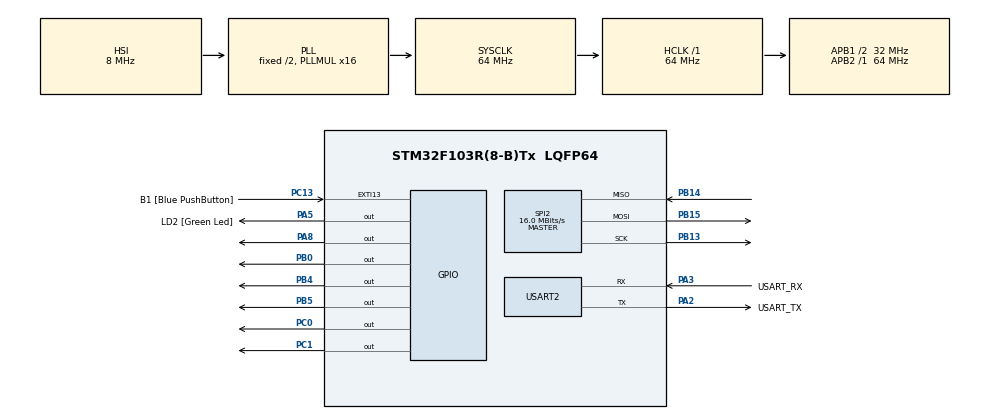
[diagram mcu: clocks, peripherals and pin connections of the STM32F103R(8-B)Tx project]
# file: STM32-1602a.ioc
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Mcu.Family=STM32F1
Mcu.Name=STM32F103R(8-B)Tx
Mcu.Package=LQFP64
NVIC.EXTI15_10_IRQn=true\:0\:0\:false\:false\:true\:true\:true
NVIC.PriorityGroup=NVIC_PRIORITYGROUP_4
PA13.GPIO_Label=TMS
PA13.Mode=Serial_Wire
PA13.Signal=SYS_JTMS-SWDIO
PA14.GPIO_Label=TCK
PA14.Mode=Serial_Wire
PA14.Signal=SYS_JTCK-SWCLK
PA2.GPIO_Label=USART_TX
PA2.GPIO_Mode=GPIO_MODE_AF_PP
PA2.GPIO_PuPd=GPIO_NOPULL
PA2.GPIO_Speed=GPIO_SPEED_FREQ_LOW
PA2.Mode=Asynchronous
PA2.Signal=USART2_TX
PA3.GPIO_Label=USART_RX
PA3.GPIO_Mode=GPIO_MODE_AF_PP
PA3.GPIO_PuPd=GPIO_NOPULL
PA3.GPIO_Speed=GPIO_SPEED_FREQ_LOW
PA3.Mode=Asynchronous
PA3.Signal=USART2_RX
PA5.GPIO_Label=LD2 [Green Led]
PA5.GPIO_ModeDefaultOutputPP=GPIO_MODE_OUTPUT_PP
PA5.GPIO_PuPd=GPIO_NOPULL
PA5.GPIO_Speed=GPIO_SPEED_FREQ_LOW
PA5.Signal=GPIO_Output
PA8.Signal=GPIO_Output
PB0.Signal=GPIO_Output
PB13.Mode=Full_Duplex_Master
PB13.Signal=SPI2_SCK
PB14.Mode=Full_Duplex_Master
PB14.Signal=SPI2_MISO
PB15.Mode=Full_Duplex_Master
PB15.Signal=SPI2_MOSI
PB3.GPIO_Label=SWO
PB3.Signal=SYS_JTDO-TRACESWO
PB4.Signal=GPIO_Output
PB5.Signal=GPIO_Output
PC0.Signal=GPIO_Output
PC1.Signal=GPIO_Output
PC13-TAMPER-RTC.GPIO_Label=B1 [Blue PushButton]
PC13-TAMPER-RTC.GPIO_PuPd=GPIO_NOPULL
PC13-TAMPER-RTC.Signal=GPXTI13
PC14-OSC32_IN.Mode=LSE-External-Oscillator
PC14-OSC32_IN.Signal=RCC_OSC32_IN
PC15-OSC32_OUT.Mode=LSE-External-Oscillator
PC15-OSC32_OUT.Signal=RCC_OSC32_OUT
PD0-OSC_IN.Mode=HSE-External-Clock-Source
PD0-OSC_IN.Signal=RCC_OSC_IN
PD1-OSC_OUT.Mode=HSE-External-Clock-Source
PD1-OSC_OUT.Signal=RCC_OSC_OUT
ProjectManager.HeapSize=0x200
ProjectManager.StackSize=0x400
ProjectManager.TargetToolchain=STM32CubeIDE
RCC.AHBFreq_Value=64000000
RCC.APB1CLKDivider=RCC_HCLK_DIV2
RCC.APB1Freq_Value=32000000
RCC.APB1TimFreq_Value=64000000
RCC.APB2Freq_Value=64000000
RCC.APB2TimFreq_Value=64000000
RCC.HCLKFreq_Value=64000000
RCC.PLLMUL=RCC_PLL_MUL16
RCC.RTCClockSelection=RCC_RTCCLKSOURCE_LSE
RCC.SYSCLKFreq_VALUE=64000000
RCC.SYSCLKSource=RCC_SYSCLKSOURCE_PLLCLK
RCC.USBFreq_Value=64000000
SPI2.CalculateBaudRate=16.0 MBits/s
SPI2.Direction=SPI_DIRECTION_2LINES
SPI2.Mode=SPI_MODE_MASTER
SPI2.VirtualType=VM_MASTER
TIM2.Period=500
TIM2.Prescaler=63999
USART2.VirtualMode=VM_ASYNC
VP_TIM2_VS_ClockSourceINT.Mode=Internal
board=NUCLEO-F103RB

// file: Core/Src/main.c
/* USER CODE BEGIN Header */
/**
  ******************************************************************************
  * @file           : main.c
  * @brief          : Main program body
  ******************************************************************************
  * @attention
  *
  * <h2><center>&copy; Copyright (c) 2021 STMicroelectronics.
  * All rights reserved.</center></h2>
  *
  * This software component is licensed by ST under BSD 3-Clause license,
  * the "License"; You may not use this file except in compliance with the
  * License. You may obtain a copy of the License at:
  *                        opensource.org/licenses/BSD-3-Clause
  *
  ******************************************************************************
  */
/* USER CODE END Header */
#include "main.h"
#include "application.h"
#include "logger.h"
#include "transmitter.h"
#include "receiver.h"
#include "lcd_driver.h"
#include "FreeRTOS.h"
#include "task.h"

SPI_HandleTypeDef hspi2;

TIM_HandleTypeDef htim2;

UART_HandleTypeDef huart2;

void SystemClock_Config(void);
static void MX_GPIO_Init(void);
static void MX_USART2_UART_Init(void);
static void MX_TIM2_Init(void);
static void MX_SPI2_Init(void);

int main(void)
{
  /* USER CODE BEGIN 1 */
  TaskHandle_t handle_lcd_driver = NULL;
  TaskHandle_t handle_application = NULL;
  TaskHandle_t handle_logger = NULL;
  TaskHandle_t handle_transmitter = NULL;
  TaskHandle_t handle_receiver = NULL;
  BaseType_t ret;

  ret = xTaskCreate(lcd_driver_task,
                    "lcd_driver",
                    STACK_SIZE_DRIVER,
                    NULL,
                    PRIORITY_DRIVER,
                    &handle_lcd_driver );

  if (ret != pdTRUE)
  {
    while(1);
  }

  ret = xTaskCreate(application_task,
                    "application",
                    STACK_SIZE_APPLICATION,
                    NULL,
                    PRIORITY_APPLICATION,
                    &handle_application );

  if (ret != pdTRUE)
  {
    while(1);
  }

  ret = xTaskCreate(logger_task,
                    "logger",
                    STACK_SIZE_APPLICATION,
                    NULL,
                    PRIORITY_APPLICATION,
                    &handle_logger );

  if (ret != pdTRUE)
  {
    while(1);
  }

  ret = xTaskCreate(transmitter_task,
                    "transmitter",
                    STACK_SIZE_APPLICATION,
                    NULL,
                    PRIORITY_APPLICATION,
                    &handle_transmitter );

  if (ret != pdTRUE)
  {
    while(1);
  }

  ret = xTaskCreate(receiver_task,
                    "receiver",
                    STACK_SIZE_APPLICATION,
                    NULL,
                    PRIORITY_APPLICATION,
                    &handle_receiver );

  if (ret != pdTRUE)
  {
    while(1);
  }

  /* USER CODE END 1 */

  /* MCU Configuration--------------------------------------------------------*/

  /* Reset of all peripherals, Initializes the Flash interface and the Systick. */
  HAL_Init();

  /* Configure the system clock */
  SystemClock_Config();

  /* Initialize all configured peripherals */
  MX_GPIO_Init();
  MX_USART2_UART_Init();
  MX_TIM2_Init();
  MX_SPI2_Init();
  /* USER CODE BEGIN 2 */

  vTaskStartScheduler();
  /* USER CODE END 2 */

  /* Infinite loop */
  while (1)
  {

  }
}

void SystemClock_Config(void)
{
  RCC_OscInitTypeDef RCC_OscInitStruct = {0};
  RCC_ClkInitTypeDef RCC_ClkInitStruct = {0};

  /** Initializes the RCC Oscillators according to the specified parameters
  * in the RCC_OscInitTypeDef structure.
  */
  RCC_OscInitStruct.OscillatorType = RCC_OSCILLATORTYPE_HSI;
  RCC_OscInitStruct.HSIState = RCC_HSI_ON;
  RCC_OscInitStruct.HSICalibrationValue = RCC_HSICALIBRATION_DEFAULT;
  RCC_OscInitStruct.PLL.PLLState = RCC_PLL_ON;
  RCC_OscInitStruct.PLL.PLLSource = RCC_PLLSOURCE_HSI_DIV2;
  RCC_OscInitStruct.PLL.PLLMUL = RCC_PLL_MUL16;
  if (HAL_RCC_OscConfig(&RCC_OscInitStruct) != HAL_OK)
  {
    Error_Handler();
  }
  /** Initializes the CPU, AHB and APB buses clocks
  */
  RCC_ClkInitStruct.ClockType = RCC_CLOCKTYPE_HCLK|RCC_CLOCKTYPE_SYSCLK
                              |RCC_CLOCKTYPE_PCLK1|RCC_CLOCKTYPE_PCLK2;
  RCC_ClkInitStruct.SYSCLKSource = RCC_SYSCLKSOURCE_PLLCLK;
  RCC_ClkInitStruct.AHBCLKDivider = RCC_SYSCLK_DIV1;
  RCC_ClkInitStruct.APB1CLKDivider = RCC_HCLK_DIV2;
  RCC_ClkInitStruct.APB2CLKDivider = RCC_HCLK_DIV1;

  if (HAL_RCC_ClockConfig(&RCC_ClkInitStruct, FLASH_LATENCY_2) != HAL_OK)
  {
    Error_Handler();
  }
}

static void MX_SPI2_Init(void)
{

  /* SPI2 parameter configuration*/
  hspi2.Instance = SPI2;
  hspi2.Init.Mode = SPI_MODE_MASTER;
  hspi2.Init.Direction = SPI_DIRECTION_2LINES;
  hspi2.Init.DataSize = SPI_DATASIZE_8BIT;
  hspi2.Init.CLKPolarity = SPI_POLARITY_LOW;
  hspi2.Init.CLKPhase = SPI_PHASE_1EDGE;
  hspi2.Init.NSS = SPI_NSS_SOFT;
  hspi2.Init.BaudRatePrescaler = SPI_BAUDRATEPRESCALER_2;
  hspi2.Init.FirstBit = SPI_FIRSTBIT_MSB;
  hspi2.Init.TIMode = SPI_TIMODE_DISABLE;
  hspi2.Init.CRCCalculation = SPI_CRCCALCULATION_DISABLE;
  hspi2.Init.CRCPolynomial = 10;
  if (HAL_SPI_Init(&hspi2) != HAL_OK)
  {
    Error_Handler();
  }

}

static void MX_TIM2_Init(void)
{

  TIM_ClockConfigTypeDef sClockSourceConfig = {0};
  TIM_MasterConfigTypeDef sMasterConfig = {0};

  htim2.Instance = TIM2;
  htim2.Init.Prescaler = 63999;
  htim2.Init.CounterMode = TIM_COUNTERMODE_UP;
  htim2.Init.Period = 500;
  htim2.Init.ClockDivision = TIM_CLOCKDIVISION_DIV1;
  htim2.Init.AutoReloadPreload = TIM_AUTORELOAD_PRELOAD_DISABLE;
  if (HAL_TIM_Base_Init(&htim2) != HAL_OK)
  {
    Error_Handler();
  }
  sClockSourceConfig.ClockSource = TIM_CLOCKSOURCE_INTERNAL;
  if (HAL_TIM_ConfigClockSource(&htim2, &sClockSourceConfig) != HAL_OK)
  {
    Error_Handler();
  }
  sMasterConfig.MasterOutputTrigger = TIM_TRGO_RESET;
  sMasterConfig.MasterSlaveMode = TIM_MASTERSLAVEMODE_DISABLE;
  if (HAL_TIMEx_MasterConfigSynchronization(&htim2, &sMasterConfig) != HAL_OK)
  {
    Error_Handler();
  }
  /* USER CODE BEGIN TIM2_Init 2 */
  HAL_TIM_Base_Start(&htim2);
  /* USER CODE END TIM2_Init 2 */

}

static void MX_USART2_UART_Init(void)
{

  huart2.Instance = USART2;
  huart2.Init.BaudRate = 115200;
  huart2.Init.WordLength = UART_WORDLENGTH_8B;
  huart2.Init.StopBits = UART_STOPBITS_1;
  huart2.Init.Parity = UART_PARITY_NONE;
  huart2.Init.Mode = UART_MODE_TX_RX;
  huart2.Init.HwFlowCtl = UART_HWCONTROL_NONE;
  huart2.Init.OverSampling = UART_OVERSAMPLING_16;
  if (HAL_UART_Init(&huart2) != HAL_OK)
  {
    Error_Handler();
  }

}

static void MX_GPIO_Init(void)
{
  GPIO_InitTypeDef GPIO_InitStruct = {0};

  /* GPIO Ports Clock Enable */
  __HAL_RCC_GPIOC_CLK_ENABLE();
  __HAL_RCC_GPIOD_CLK_ENABLE();
  __HAL_RCC_GPIOA_CLK_ENABLE();
  __HAL_RCC_GPIOB_CLK_ENABLE();

  /*Configure GPIO pin Output Level */
  HAL_GPIO_WritePin(GPIOC, GPIO_PIN_0|GPIO_PIN_1, GPIO_PIN_RESET);

  /*Configure GPIO pin Output Level */
  HAL_GPIO_WritePin(GPIOA, LD2_Pin|GPIO_PIN_8, GPIO_PIN_RESET);

  /*Configure GPIO pin Output Level */
  HAL_GPIO_WritePin(GPIOB, GPIO_PIN_0|GPIO_PIN_4|GPIO_PIN_5, GPIO_PIN_RESET);

  /*Configure GPIO pin : B1_Pin */
  GPIO_InitStruct.Pin = B1_Pin;
  GPIO_InitStruct.Mode = GPIO_MODE_IT_RISING;
  GPIO_InitStruct.Pull = GPIO_NOPULL;
  HAL_GPIO_Init(B1_GPIO_Port, &GPIO_InitStruct);

  /*Configure GPIO pins : PC0 PC1 */
  GPIO_InitStruct.Pin = GPIO_PIN_0|GPIO_PIN_1;
  GPIO_InitStruct.Mode = GPIO_MODE_OUTPUT_PP;
  GPIO_InitStruct.Pull = GPIO_NOPULL;
  GPIO_InitStruct.Speed = GPIO_SPEED_FREQ_LOW;
  HAL_GPIO_Init(GPIOC, &GPIO_InitStruct);

  /*Configure GPIO pins : LD2_Pin PA8 */
  GPIO_InitStruct.Pin = LD2_Pin|GPIO_PIN_8;
  GPIO_InitStruct.Mode = GPIO_MODE_OUTPUT_PP;
  GPIO_InitStruct.Pull = GPIO_NOPULL;
  GPIO_InitStruct.Speed = GPIO_SPEED_FREQ_LOW;
  HAL_GPIO_Init(GPIOA, &GPIO_InitStruct);

  /*Configure GPIO pins : PB0 PB4 PB5 */
  GPIO_InitStruct.Pin = GPIO_PIN_0|GPIO_PIN_4|GPIO_PIN_5;
  GPIO_InitStruct.Mode = GPIO_MODE_OUTPUT_PP;
  GPIO_InitStruct.Pull = GPIO_NOPULL;
  GPIO_InitStruct.Speed = GPIO_SPEED_FREQ_LOW;
  HAL_GPIO_Init(GPIOB, &GPIO_InitStruct);

  /* EXTI interrupt init*/
  HAL_NVIC_SetPriority(EXTI15_10_IRQn, 0, 0);
  HAL_NVIC_EnableIRQ(EXTI15_10_IRQn);

}

void Error_Handler(void)
{
}

/************************ (C) COPYRIGHT STMicroelectronics *****END OF FILE****/
